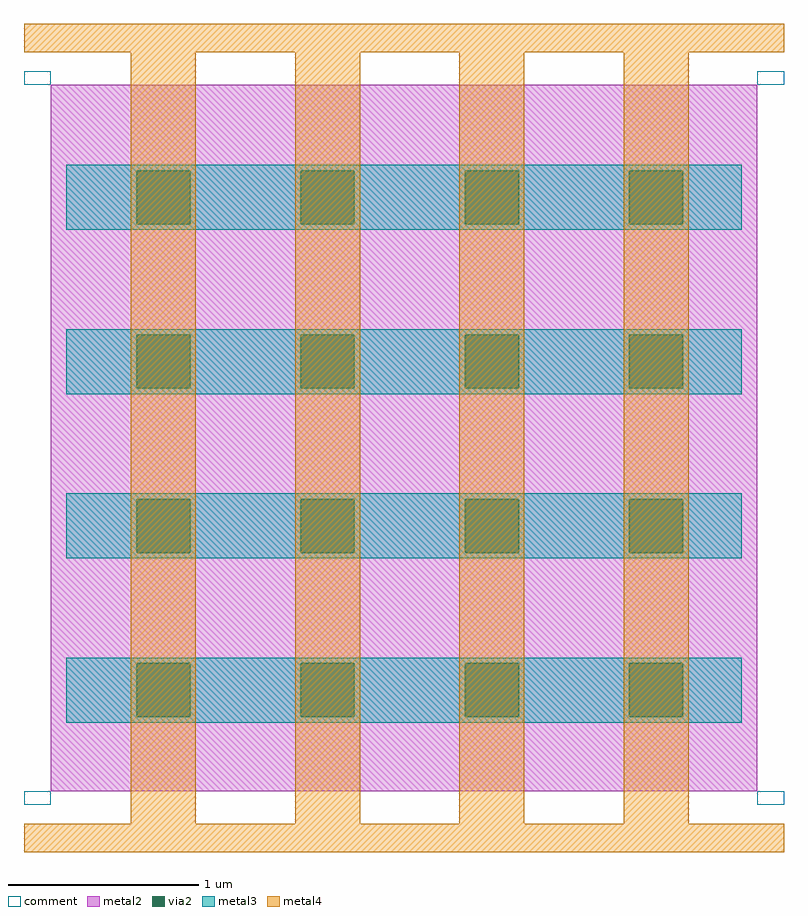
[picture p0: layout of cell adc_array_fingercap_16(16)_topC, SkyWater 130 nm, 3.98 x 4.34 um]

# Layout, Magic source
magic
tech sky130A
<< metal2 >>
rect 42 306 412 351
rect 42 278 87 306
rect 115 278 173 306
rect 201 278 259 306
rect 287 278 345 306
rect 373 278 412 306
rect 42 220 412 278
rect 42 192 87 220
rect 115 192 173 220
rect 201 192 259 220
rect 287 192 345 220
rect 373 192 412 220
rect 42 134 412 192
rect 42 106 87 134
rect 115 106 173 134
rect 201 106 259 134
rect 287 106 345 134
rect 373 106 412 134
rect 42 48 412 106
rect 42 20 87 48
rect 115 20 173 48
rect 201 20 259 48
rect 287 20 345 48
rect 373 20 412 48
rect 42 -19 412 20
<< via2 >>
rect 87 278 115 306
rect 173 278 201 306
rect 259 278 287 306
rect 345 278 373 306
rect 87 192 115 220
rect 173 192 201 220
rect 259 192 287 220
rect 345 192 373 220
rect 87 106 115 134
rect 173 106 201 134
rect 259 106 287 134
rect 345 106 373 134
rect 87 20 115 48
rect 173 20 201 48
rect 259 20 287 48
rect 345 20 373 48
<< metal3 >>
rect 50 306 404 309
rect 50 278 87 306
rect 115 278 173 306
rect 201 278 259 306
rect 287 278 345 306
rect 373 278 404 306
rect 50 275 404 278
rect 50 220 404 223
rect 50 192 87 220
rect 115 192 173 220
rect 201 192 259 220
rect 287 192 345 220
rect 373 192 404 220
rect 50 189 404 192
rect 50 134 404 137
rect 50 106 87 134
rect 115 106 173 134
rect 201 106 259 134
rect 287 106 345 134
rect 373 106 404 134
rect 50 103 404 106
rect 50 48 404 51
rect 50 20 87 48
rect 115 20 173 48
rect 201 20 259 48
rect 287 20 345 48
rect 373 20 404 48
rect 50 17 404 20
<< metal4 >>
rect 28 368 426 383
rect 84 -36 118 368
rect 170 -36 204 368
rect 256 -36 290 368
rect 342 -36 376 368
rect 28 -51 426 -36
<< comment >>
rect 28 351 42 358
rect 412 351 426 358
rect 28 -26 42 -19
rect 412 -26 426 -19
<< end >>
